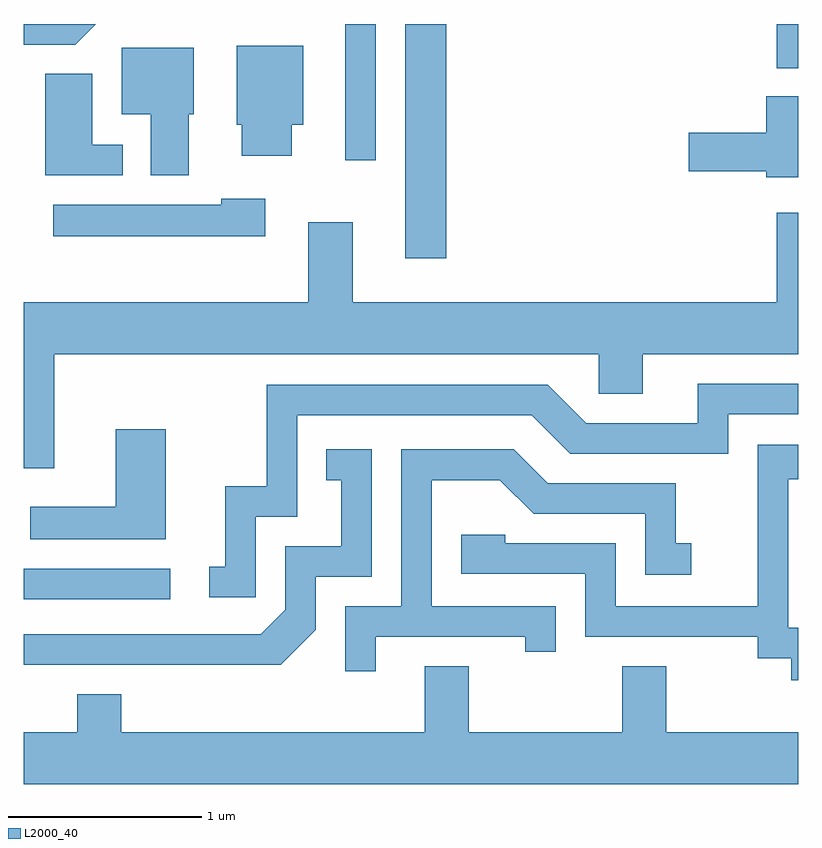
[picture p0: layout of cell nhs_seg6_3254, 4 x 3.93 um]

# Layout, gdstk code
import gdstk
lib = gdstk.Library(unit=1e-6, precision=1e-09)
def R(c, l, rs):  # rectangles x0, y0, x1, y1
    for r in rs: c.add(gdstk.rectangle(r[:2], r[2:], *l))
def P(c, l, *ps):  # polygons
    for p in ps: c.add(gdstk.Polygon(p, *l))
L2000_40 = (2000, 40)

nhs_seg6_3254 = lib.new_cell('nhs_seg6_3254')
R(nhs_seg6_3254, L2000_40, [(283.611,1573.191,284.368,1573.349), (285.581,1574.951,285.794,1576.162), (285.271,1575.458,285.429,1576.162), (287.501,1575.933,287.611,1576.162)])
P(nhs_seg6_3254, L2000_40, [(283.983,1576.162),(283.611,1576.162),(283.611,1576.056),(283.877,1576.056)],
  [(284.994,1575.641),(285.054,1575.641),(285.054,1576.049),(284.711,1576.049),(284.711,1575.641),(284.736,1575.641),(284.736,1575.481),(284.994,1575.481)],
  [(284.464,1575.696),(284.489,1575.696),(284.489,1576.039),(284.116,1576.039),(284.116,1575.696),(284.266,1575.696),(284.266,1575.381),(284.464,1575.381)],
  [(284.123,1575.539),(283.964,1575.539),(283.964,1575.904),(283.721,1575.904),(283.721,1575.381),(284.123,1575.381)],
  [(287.611,1575.789),(287.446,1575.789),(287.446,1575.599),(287.046,1575.599),(287.046,1575.401),(287.446,1575.401),(287.446,1575.371),(287.611,1575.371)],
  [(284.859,1575.259),(284.631,1575.259),(284.631,1575.229),(283.763,1575.229),(283.763,1575.066),(284.859,1575.066)],
  [(283.769,1574.456),(286.581,1574.456),(286.581,1574.251),(286.809,1574.251),(286.809,1574.456),(287.611,1574.456),(287.611,1575.188),(287.501,1575.188),(287.501,1574.724),(285.309,1574.724),(285.309,1575.139),(285.081,1575.139),(285.081,1574.724),(283.611,1574.724),(283.611,1573.866),(283.769,1573.866)],
  [(284.809,1573.616),(285.024,1573.616),(285.024,1574.141),(286.234,1574.141),(286.434,1573.941),(287.249,1573.941),(287.249,1574.146),(287.611,1574.146),(287.611,1574.304),(287.091,1574.304),(287.091,1574.099),(286.517,1574.099),(286.317,1574.299),(284.866,1574.299),(284.866,1573.774),(284.651,1573.774),(284.651,1573.359),(284.568,1573.359),(284.568,1573.201),(284.809,1573.201)],
  [(284.344,1574.069),(284.086,1574.069),(284.086,1573.669),(283.643,1573.669),(283.643,1573.501),(284.344,1573.501)],
  [(287.611,1573.044),(287.559,1573.044),(287.559,1573.811),(287.611,1573.811),(287.611,1573.989),(287.401,1573.989),(287.401,1573.154),(286.669,1573.154),(286.669,1573.479),(286.099,1573.479),(286.099,1573.524),(285.871,1573.524),(285.871,1573.321),(286.511,1573.321),(286.511,1572.996),(287.401,1572.996),(287.401,1572.886),(287.576,1572.886),(287.576,1572.773),(287.611,1572.773)],
  [(285.429,1572.996),(286.201,1572.996),(286.201,1572.918),(286.359,1572.918),(286.359,1573.154),(285.719,1573.154),(285.719,1573.806),(286.069,1573.806),(286.244,1573.631),(286.821,1573.631),(286.821,1573.316),(287.058,1573.316),(287.058,1573.479),(286.979,1573.479),(286.979,1573.789),(286.317,1573.789),(286.142,1573.964),(285.561,1573.964),(285.561,1573.154),(285.271,1573.154),(285.271,1572.818),(285.429,1572.818)],
  [(285.119,1573.034),(285.119,1573.306),(285.409,1573.306),(285.409,1573.964),(285.173,1573.964),(285.173,1573.806),(285.251,1573.806),(285.251,1573.464),(284.961,1573.464),(284.961,1573.137),(284.834,1573.009),(283.611,1573.009),(283.611,1572.851),(284.937,1572.851)],
  [(287.611,1572.504),(286.929,1572.504),(286.929,1572.844),(286.701,1572.844),(286.701,1572.504),(285.909,1572.504),(285.909,1572.844),(285.681,1572.844),(285.681,1572.504),(284.114,1572.504),(284.114,1572.699),(283.886,1572.699),(283.886,1572.504),(283.611,1572.504),(283.611,1572.236),(287.611,1572.236)])

lib.write_gds('nhs_seg6_3254.gds')
